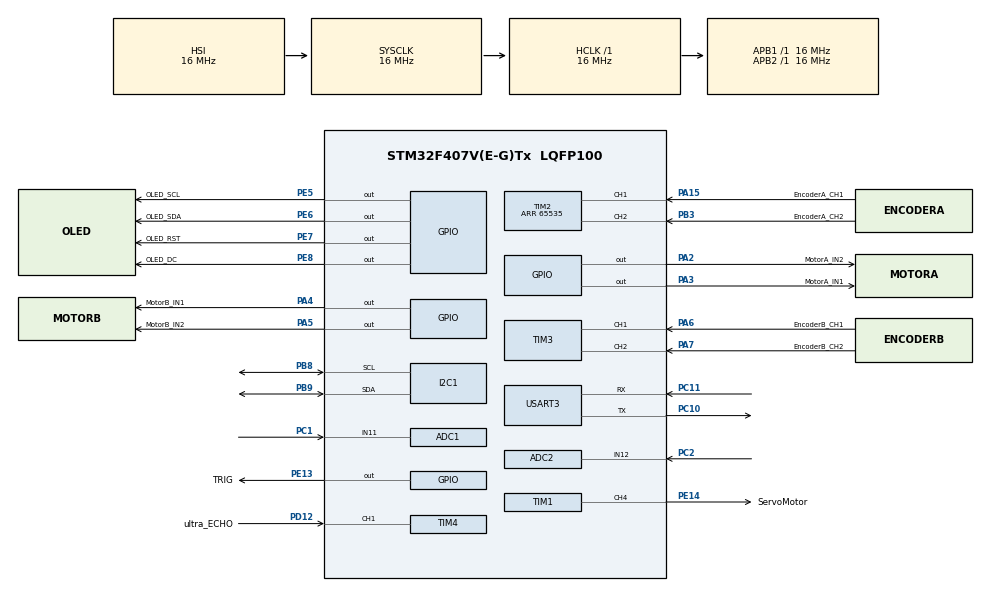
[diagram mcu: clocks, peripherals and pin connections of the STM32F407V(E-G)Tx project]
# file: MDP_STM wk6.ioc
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ADC1.Channel-0\#ChannelRegularConversion=ADC_CHANNEL_11
ADC1.ContinuousConvMode=ENABLE
ADC1.DMAContinuousRequests=ENABLE
ADC1.NbrOfConversionFlag=1
ADC1.Rank-0\#ChannelRegularConversion=1
ADC1.SamplingTime-0\#ChannelRegularConversion=ADC_SAMPLETIME_3CYCLES
ADC1.master=1
ADC2.Channel-0\#ChannelRegularConversion=ADC_CHANNEL_12
ADC2.ContinuousConvMode=ENABLE
ADC2.DMAContinuousRequests=ENABLE
ADC2.NbrOfConversionFlag=1
ADC2.Rank-0\#ChannelRegularConversion=1
ADC2.SamplingTime-0\#ChannelRegularConversion=ADC_SAMPLETIME_3CYCLES
Dma.ADC1.0.Direction=DMA_PERIPH_TO_MEMORY
Dma.ADC1.0.FIFOMode=DMA_FIFOMODE_DISABLE
Dma.ADC1.0.Instance=DMA2_Stream0
Dma.ADC1.0.MemDataAlignment=DMA_MDATAALIGN_HALFWORD
Dma.ADC1.0.MemInc=DMA_MINC_ENABLE
Dma.ADC1.0.Mode=DMA_CIRCULAR
Dma.ADC1.0.PeriphDataAlignment=DMA_PDATAALIGN_HALFWORD
Dma.ADC1.0.PeriphInc=DMA_PINC_DISABLE
Dma.ADC1.0.Priority=DMA_PRIORITY_LOW
Dma.ADC2.1.Direction=DMA_PERIPH_TO_MEMORY
Dma.ADC2.1.FIFOMode=DMA_FIFOMODE_DISABLE
Dma.ADC2.1.Instance=DMA2_Stream2
Dma.ADC2.1.MemDataAlignment=DMA_MDATAALIGN_HALFWORD
Dma.ADC2.1.MemInc=DMA_MINC_ENABLE
Dma.ADC2.1.Mode=DMA_CIRCULAR
Dma.ADC2.1.PeriphDataAlignment=DMA_PDATAALIGN_HALFWORD
Dma.ADC2.1.PeriphInc=DMA_PINC_DISABLE
Dma.ADC2.1.Priority=DMA_PRIORITY_LOW
Dma.Request0=ADC1
Dma.Request1=ADC2
FREERTOS.Tasks01=defaultTask,0,128,StartDefaultTask,Default,NULL,Dynamic,NULL,NULL;robotCommandTas,-3,128,robotCommand,Default,NULL,Dynamic,NULL,NULL;leftEncoderTask,-3,128,leftEncoder,Default,NULL,Dynamic,NULL,NULL;rightEncoderTas,-3,128,rightEncoder,Default,NULL,Dynamic,NULL,NULL;stopBotTask,-3,128,stopBot,Default,NULL,Dynamic,NULL,NULL;leftMotorFixTas,-3,128,LeftMotorFix,Default,NULL,Dynamic,NULL,NULL;motorTask,-3,128,motor,Default,NULL,Dynamic,NULL,NULL;OLEDTask,-3,128,OLEDShow,Default,NULL,Dynamic,NULL,NULL;rightMotorFixTa,-3,128,rightMotorFix,Default,NULL,Dynamic,NULL,NULL;gyroTask,-3,128,gyroTask1,Default,NULL,Dynamic,NULL,NULL
Mcu.Family=STM32F4
Mcu.Name=STM32F407V(E-G)Tx
Mcu.Package=LQFP100
NVIC.DMA2_Stream0_IRQn=true\:5\:0\:false\:false\:true\:true\:false\:true\:true
NVIC.DMA2_Stream2_IRQn=true\:5\:0\:false\:false\:true\:true\:false\:true\:true
NVIC.PriorityGroup=NVIC_PRIORITYGROUP_4
NVIC.TIM4_IRQn=true\:5\:0\:false\:false\:true\:true\:true\:true\:true
NVIC.USART3_IRQn=true\:5\:0\:false\:false\:true\:true\:true\:true\:true
PA15.GPIO_Label=EncoderA_CH1
PA15.GPIO_Speed=GPIO_SPEED_FREQ_VERY_HIGH
PA15.Signal=S_TIM2_CH1_ETR
PA2.GPIO_Label=MotorA_IN2
PA2.GPIO_Speed=GPIO_SPEED_FREQ_VERY_HIGH
PA2.Signal=GPIO_Output
PA3.GPIO_Label=MotorA_IN1
PA3.GPIO_Speed=GPIO_SPEED_FREQ_VERY_HIGH
PA3.Signal=GPIO_Output
PA4.GPIO_Label=MotorB_IN1
PA4.GPIO_Speed=GPIO_SPEED_FREQ_VERY_HIGH
PA4.Signal=GPIO_Output
PA5.GPIO_Label=MotorB_IN2
PA5.GPIO_Speed=GPIO_SPEED_FREQ_VERY_HIGH
PA5.Signal=GPIO_Output
PA6.GPIO_Label=EncoderB_CH1
PA6.GPIO_Speed=GPIO_SPEED_FREQ_VERY_HIGH
PA6.Signal=S_TIM3_CH1
PA7.GPIO_Label=EncoderB_CH2
PA7.GPIO_Speed=GPIO_SPEED_FREQ_VERY_HIGH
PA7.Signal=S_TIM3_CH2
PB3.GPIO_Label=EncoderA_CH2
PB3.GPIO_Speed=GPIO_SPEED_FREQ_VERY_HIGH
PB3.Signal=S_TIM2_CH2
PB8.Mode=I2C
PB8.Signal=I2C1_SCL
PB9.Mode=I2C
PB9.Signal=I2C1_SDA
PC1.Signal=ADCx_IN11
PC10.Mode=Asynchronous
PC10.Signal=USART3_TX
PC11.Mode=Asynchronous
PC11.Signal=USART3_RX
PC2.Signal=ADCx_IN12
PC6.GPIO_Label=MotorA_PWM
PC6.Signal=S_TIM8_CH1
PC7.GPIO_Label=MotorB_PWM
PC7.Signal=S_TIM8_CH2
PD12.GPIO_Label=ultra_ECHO
PD12.Signal=S_TIM4_CH1
PE13.GPIO_Label=TRIG
PE13.Signal=GPIO_Output
PE14.GPIO_Label=ServoMotor
PE14.GPIO_Speed=GPIO_SPEED_FREQ_VERY_HIGH
PE14.Signal=S_TIM1_CH4
PE5.GPIO_Label=OLED_SCL
PE5.GPIO_Speed=GPIO_SPEED_FREQ_VERY_HIGH
PE5.Signal=GPIO_Output
PE6.GPIO_Label=OLED_SDA
PE6.GPIO_Speed=GPIO_SPEED_FREQ_VERY_HIGH
PE6.Signal=GPIO_Output
PE7.GPIO_Label=OLED_RST
PE7.GPIO_Speed=GPIO_SPEED_FREQ_VERY_HIGH
PE7.Signal=GPIO_Output
PE8.GPIO_Label=OLED_DC
PE8.GPIO_Speed=GPIO_SPEED_FREQ_VERY_HIGH
PE8.Signal=GPIO_Output
ProjectManager.HeapSize=0x200
ProjectManager.StackSize=0x400
ProjectManager.TargetToolchain=STM32CubeIDE
RCC.AHBFreq_Value=16000000
RCC.APB1Freq_Value=16000000
RCC.APB2Freq_Value=16000000
RCC.CortexFreq_Value=16000000
RCC.HSE_VALUE=25000000
RCC.HSI_VALUE=16000000
RCC.LSE_VALUE=32768
RCC.SYSCLKFreq_VALUE=16000000
RCC.VCOOutputFreq_Value=192000000
SH.ADCx_IN11.0=ADC1_IN11,IN11
SH.ADCx_IN12.0=ADC2_IN12,IN12
SH.S_TIM1_CH4.0=TIM1_CH4,PWM Generation4 CH4
SH.S_TIM2_CH1_ETR.0=TIM2_CH1,Encoder_Interface
SH.S_TIM2_CH2.0=TIM2_CH2,Encoder_Interface
SH.S_TIM3_CH1.0=TIM3_CH1,Encoder_Interface
SH.S_TIM3_CH2.0=TIM3_CH2,Encoder_Interface
SH.S_TIM4_CH1.0=TIM4_CH1,Input_Capture1_from_TI1
SH.S_TIM8_CH1.0=TIM8_CH1
SH.S_TIM8_CH2.0=TIM8_CH2
TIM1.AutoReloadPreload=TIM_AUTORELOAD_PRELOAD_ENABLE
TIM1.Channel-PWM\ Generation4\ CH4=TIM_CHANNEL_4
TIM1.Period=1000
TIM1.Prescaler=160
TIM2.EncoderMode=TIM_ENCODERMODE_TI12
TIM2.IC1Filter=10
TIM2.IC2Filter=10
TIM2.Period=65535
TIM3.EncoderMode=TIM_ENCODERMODE_TI12
TIM3.IC1Filter=10
TIM3.IC2Filter=10
TIM4.Channel-Input_Capture1_from_TI1=TIM_CHANNEL_1
TIM4.Prescaler=16
TIM8.Channel-PWM\ Generation1\ No\ Output=TIM_CHANNEL_1
TIM8.Channel-PWM\ Generation2\ No\ Output=TIM_CHANNEL_2
TIM8.Period=7199
USART3.VirtualMode=VM_ASYNC
VP_FREERTOS_VS_CMSIS_V1.Mode=CMSIS_V1
VP_TIM8_VS_ClockSourceINT.Mode=Internal
VP_TIM8_VS_no_output1.Mode=PWM Generation1 No Output
VP_TIM8_VS_no_output2.Mode=PWM Generation2 No Output
board=custom

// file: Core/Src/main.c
/* USER CODE BEGIN Header */
/**
 ******************************************************************************
 * @file           : main.c
 * @brief          : Main program body
 ******************************************************************************
 * @attention
 *
 * Copyright (c) 2022 STMicroelectronics.
 * All rights reserved.
 *
 * This software is licensed under terms that can be found in the LICENSE file
 * in the root directory of this software component.
 * If no LICENSE file comes with this software, it is provided AS-IS.
 *
 ******************************************************************************
 */
/* USER CODE END Header */
#include "main.h"
#include "cmsis_os.h"

/* USER CODE BEGIN Includes */
#include <oled.h>
#include <stdio.h>
#include <stdlib.h>
#include <string.h>
/* USER CODE END Includes */

ADC_HandleTypeDef hadc1;
ADC_HandleTypeDef hadc2;
DMA_HandleTypeDef hdma_adc1;
DMA_HandleTypeDef hdma_adc2;

I2C_HandleTypeDef hi2c1;

TIM_HandleTypeDef htim1;
TIM_HandleTypeDef htim2;
TIM_HandleTypeDef htim3;
TIM_HandleTypeDef htim4;
TIM_HandleTypeDef htim8;

UART_HandleTypeDef huart3;

osThreadId defaultTaskHandle;
osThreadId robotCommandTasHandle;
osThreadId leftEncoderTaskHandle;
osThreadId rightEncoderTasHandle;
osThreadId stopBotTaskHandle;
osThreadId motorTaskHandle;
osThreadId OLEDTaskHandle;
osThreadId gyroTaskHandle;

void SystemClock_Config(void);
static void MX_GPIO_Init(void);
static void MX_DMA_Init(void);
static void MX_TIM8_Init(void);
static void MX_TIM2_Init(void);
static void MX_TIM1_Init(void);
static void MX_TIM3_Init(void);
static void MX_USART3_UART_Init(void);
static void MX_I2C1_Init(void);
static void MX_TIM4_Init(void);
static void MX_ADC1_Init(void);
static void MX_ADC2_Init(void);
void StartDefaultTask(void const * argument);
void robotCommand(void const * argument);
void leftEncoder(void const * argument);
void rightEncoder(void const * argument);
void stopBot(void const * argument);
void motor(void const * argument);
void OLEDShow(void const * argument);
void gyroTask1(void const * argument);

/* USER CODE BEGIN PFP */
void stopMovement(void);
void moveFrontStraight(void);
void moveBackStraight(void);
void moveForward(char dir[10], int distance);
void moveBackward(char dir[10], int distance);
float Left_PID_control (float setpoint, float measure);
float Right_PID_control (float setpoint, float measure);

/* USER CODE END PFP */

/* USER CODE BEGIN 0 */
uint8_t aRxBuffer[20];
uint16_t leftIR[4096]; // PC2 is left IR
uint16_t rightIR[4096]; // PC1 is right IR
int rightEncoderVal = 0, leftEncoderVal = 0;
uint16_t rightPWMval = 0, leftPWMval = 0;
int motorDir = 00;
int angle = 90;
int totalLeftEncoder=0;
int totalRightEncoder=0;
uint8_t buff[20];

//PID variables
float Kp=7, Ki=10, Kd=0.01;
float T=5; /*Sample Period*/
float ruk, ruk_1=0, rek_1=0, rek_2=0, rek=0;
float luk, luk_1=0, lek_1=0, lek_2=0, lek=0;
float umax=3500;/*Constant*/
float umin=1500; /*Constant*/
char temp[6] = "test\0";
uint8_t ICMAddr = 0x68;

double Aint = 0;

uint32_t Difference = 0;
uint32_t IC_Val1 = 0;
uint32_t IC_Val2 = 0;
uint8_t Is_First_Captured = 0;  // is the first value captured ?
uint8_t Distance  = 0;

double total_angle=0;
double angle_offset=0;

void readByte(uint8_t addr, uint8_t* data){
	buff[0] = addr;
	HAL_I2C_Master_Transmit(&hi2c1, ICMAddr<<1, buff, 1, 10);
	HAL_I2C_Master_Receive(&hi2c1, ICMAddr<<1, data, 2, 20);

}

void writeByte(uint8_t addr, uint8_t data){
	buff[0] = addr;
	buff[1] = data;
	HAL_I2C_Master_Transmit(&hi2c1, ICMAddr << 1, buff, 2, 20);
}

void correctDirection(double target_angle, int dir){

	int pidVal;

	// calibrate these for PID and gyro
	pidVal = (int)(147 + (dir*(total_angle - target_angle)*2.0 + 0.0007*Aint));
	if(pidVal <= 100){
		pidVal = 100;
	}

	if(pidVal >= 200){
		pidVal = 200;
	}
	Aint += dir*(total_angle - target_angle);
	htim1.Instance -> CCR4 = pidVal;

}

void gyroInit(){

	writeByte(0x06, 0x00);
	osDelay(10);
	writeByte(0x03, 0x80);
	osDelay(10);
	writeByte(0x07, 0x07);
	osDelay(10);
	writeByte(0x06, 0x01);
	osDelay(10);
	writeByte(0x7F, 0x20);
	osDelay(10);
	writeByte(0x01, 0x2F);
	osDelay(10);
	writeByte(0x0, 0x00);
	osDelay(10);
	writeByte(0x7F, 0x00);
	osDelay(10);
	writeByte(0x07, 0x00);
	osDelay(10);

}
/* USER CODE END 0 */

int main(void)
{

	/* MCU Configuration--------------------------------------------------------*/

	/* Reset of all peripherals, Initializes the Flash interface and the Systick. */
	HAL_Init();

	/* Configure the system clock */
	SystemClock_Config();

	/* Initialize all configured peripherals */
	MX_GPIO_Init();
	MX_DMA_Init();
	MX_TIM8_Init();
	MX_TIM2_Init();
	MX_TIM1_Init();
	MX_TIM3_Init();
	MX_USART3_UART_Init();
	MX_I2C1_Init();
	MX_TIM4_Init();
	MX_ADC1_Init();
	MX_ADC2_Init();
	/* USER CODE BEGIN 2 */
	OLED_Init();
	HAL_UART_Receive_IT(&huart3,(uint8_t *) aRxBuffer, 5);
	/* USER CODE END 2 */

	/* Create the thread(s) */
	/* definition and creation of defaultTask */
	osThreadDef(defaultTask, StartDefaultTask, osPriorityNormal, 0, 128);
	defaultTaskHandle = osThreadCreate(osThread(defaultTask), NULL);

	/* definition and creation of robotCommandTas */
	osThreadDef(robotCommandTas, robotCommand, osPriorityIdle, 0, 128);
	robotCommandTasHandle = osThreadCreate(osThread(robotCommandTas), NULL);

	/* definition and creation of leftEncoderTask */
	osThreadDef(leftEncoderTask, leftEncoder, osPriorityIdle, 0, 128);
	leftEncoderTaskHandle = osThreadCreate(osThread(leftEncoderTask), NULL);

	/* definition and creation of rightEncoderTas */
	osThreadDef(rightEncoderTas, rightEncoder, osPriorityIdle, 0, 128);
	rightEncoderTasHandle = osThreadCreate(osThread(rightEncoderTas), NULL);

	/* definition and creation of stopBotTask */
	osThreadDef(stopBotTask, stopBot, osPriorityIdle, 0, 128);
	stopBotTaskHandle = osThreadCreate(osThread(stopBotTask), NULL);

	/* definition and creation of motorTask */
	osThreadDef(motorTask, motor, osPriorityIdle, 0, 128);
	motorTaskHandle = osThreadCreate(osThread(motorTask), NULL);

	/* definition and creation of OLEDTask */
	osThreadDef(OLEDTask, OLEDShow, osPriorityIdle, 0, 128);
	OLEDTaskHandle = osThreadCreate(osThread(OLEDTask), NULL);

	/* definition and creation of gyroTask */
	osThreadDef(gyroTask, gyroTask1, osPriorityIdle, 0, 128);
	gyroTaskHandle = osThreadCreate(osThread(gyroTask), NULL);

	/* Start scheduler */
	osKernelStart();

	/* We should never get here as control is now taken by the scheduler */
	/* Infinite loop */
	while (1)
	{

	}
}

void SystemClock_Config(void)
{
	RCC_OscInitTypeDef RCC_OscInitStruct = {0};
	RCC_ClkInitTypeDef RCC_ClkInitStruct = {0};

	/** Configure the main internal regulator output voltage
	 */
	__HAL_RCC_PWR_CLK_ENABLE();
	__HAL_PWR_VOLTAGESCALING_CONFIG(PWR_REGULATOR_VOLTAGE_SCALE1);

	/** Initializes the RCC Oscillators according to the specified parameters
	 * in the RCC_OscInitTypeDef structure.
	 */
	RCC_OscInitStruct.OscillatorType = RCC_OSCILLATORTYPE_HSI;
	RCC_OscInitStruct.HSIState = RCC_HSI_ON;
	RCC_OscInitStruct.HSICalibrationValue = RCC_HSICALIBRATION_DEFAULT;
	RCC_OscInitStruct.PLL.PLLState = RCC_PLL_NONE;
	if (HAL_RCC_OscConfig(&RCC_OscInitStruct) != HAL_OK)
	{
		Error_Handler();
	}

	/** Initializes the CPU, AHB and APB buses clocks
	 */
	RCC_ClkInitStruct.ClockType = RCC_CLOCKTYPE_HCLK|RCC_CLOCKTYPE_SYSCLK
			|RCC_CLOCKTYPE_PCLK1|RCC_CLOCKTYPE_PCLK2;
	RCC_ClkInitStruct.SYSCLKSource = RCC_SYSCLKSOURCE_HSI;
	RCC_ClkInitStruct.AHBCLKDivider = RCC_SYSCLK_DIV1;
	RCC_ClkInitStruct.APB1CLKDivider = RCC_HCLK_DIV1;
	RCC_ClkInitStruct.APB2CLKDivider = RCC_HCLK_DIV1;

	if (HAL_RCC_ClockConfig(&RCC_ClkInitStruct, FLASH_LATENCY_0) != HAL_OK)
	{
		Error_Handler();
	}
}

static void MX_ADC1_Init(void)
{

	ADC_ChannelConfTypeDef sConfig = {0};

	/** Configure the global features of the ADC (Clock, Resolution, Data Alignment and number of conversion)
	 */
	hadc1.Instance = ADC1;
	hadc1.Init.ClockPrescaler = ADC_CLOCK_SYNC_PCLK_DIV2;
	hadc1.Init.Resolution = ADC_RESOLUTION_12B;
	hadc1.Init.ScanConvMode = DISABLE;
	hadc1.Init.ContinuousConvMode = ENABLE;
	hadc1.Init.DiscontinuousConvMode = DISABLE;
	hadc1.Init.ExternalTrigConvEdge = ADC_EXTERNALTRIGCONVEDGE_NONE;
	hadc1.Init.ExternalTrigConv = ADC_SOFTWARE_START;
	hadc1.Init.DataAlign = ADC_DATAALIGN_RIGHT;
	hadc1.Init.NbrOfConversion = 1;
	hadc1.Init.DMAContinuousRequests = ENABLE;
	hadc1.Init.EOCSelection = ADC_EOC_SINGLE_CONV;
	if (HAL_ADC_Init(&hadc1) != HAL_OK)
	{
		Error_Handler();
	}

	/** Configure for the selected ADC regular channel its corresponding rank in the sequencer and its sample time.
	 */
	sConfig.Channel = ADC_CHANNEL_11;
	sConfig.Rank = 1;
	sConfig.SamplingTime = ADC_SAMPLETIME_3CYCLES;
	if (HAL_ADC_ConfigChannel(&hadc1, &sConfig) != HAL_OK)
	{
		Error_Handler();
	}

}

static void MX_ADC2_Init(void)
{

	ADC_ChannelConfTypeDef sConfig = {0};

	/** Configure the global features of the ADC (Clock, Resolution, Data Alignment and number of conversion)
	 */
	hadc2.Instance = ADC2;
	hadc2.Init.ClockPrescaler = ADC_CLOCK_SYNC_PCLK_DIV2;
	hadc2.Init.Resolution = ADC_RESOLUTION_12B;
	hadc2.Init.ScanConvMode = DISABLE;
	hadc2.Init.ContinuousConvMode = ENABLE;
	hadc2.Init.DiscontinuousConvMode = DISABLE;
	hadc2.Init.ExternalTrigConvEdge = ADC_EXTERNALTRIGCONVEDGE_NONE;
	hadc2.Init.ExternalTrigConv = ADC_SOFTWARE_START;
	hadc2.Init.DataAlign = ADC_DATAALIGN_RIGHT;
	hadc2.Init.NbrOfConversion = 1;
	hadc2.Init.DMAContinuousRequests = ENABLE;
	hadc2.Init.EOCSelection = ADC_EOC_SINGLE_CONV;
	if (HAL_ADC_Init(&hadc2) != HAL_OK)
	{
		Error_Handler();
	}

	/** Configure for the selected ADC regular channel its corresponding rank in the sequencer and its sample time.
	 */
	sConfig.Channel = ADC_CHANNEL_12;
	sConfig.Rank = 1;
	sConfig.SamplingTime = ADC_SAMPLETIME_3CYCLES;
	if (HAL_ADC_ConfigChannel(&hadc2, &sConfig) != HAL_OK)
	{
		Error_Handler();
	}

}

static void MX_I2C1_Init(void)
{

	hi2c1.Instance = I2C1;
	hi2c1.Init.ClockSpeed = 100000;
	hi2c1.Init.DutyCycle = I2C_DUTYCYCLE_2;
	hi2c1.Init.OwnAddress1 = 0;
	hi2c1.Init.AddressingMode = I2C_ADDRESSINGMODE_7BIT;
	hi2c1.Init.DualAddressMode = I2C_DUALADDRESS_DISABLE;
	hi2c1.Init.OwnAddress2 = 0;
	hi2c1.Init.GeneralCallMode = I2C_GENERALCALL_DISABLE;
	hi2c1.Init.NoStretchMode = I2C_NOSTRETCH_DISABLE;
	if (HAL_I2C_Init(&hi2c1) != HAL_OK)
	{
		Error_Handler();
	}

}

static void MX_TIM1_Init(void)
{

	TIM_MasterConfigTypeDef sMasterConfig = {0};
	TIM_OC_InitTypeDef sConfigOC = {0};
	TIM_BreakDeadTimeConfigTypeDef sBreakDeadTimeConfig = {0};

	htim1.Instance = TIM1;
	htim1.Init.Prescaler = 160;
	htim1.Init.CounterMode = TIM_COUNTERMODE_UP;
	htim1.Init.Period = 1000;
	htim1.Init.ClockDivision = TIM_CLOCKDIVISION_DIV1;
	htim1.Init.RepetitionCounter = 0;
	htim1.Init.AutoReloadPreload = TIM_AUTORELOAD_PRELOAD_ENABLE;
	if (HAL_TIM_PWM_Init(&htim1) != HAL_OK)
	{
		Error_Handler();
	}
	sMasterConfig.MasterOutputTrigger = TIM_TRGO_RESET;
	sMasterConfig.MasterSlaveMode = TIM_MASTERSLAVEMODE_DISABLE;
	if (HAL_TIMEx_MasterConfigSynchronization(&htim1, &sMasterConfig) != HAL_OK)
	{
		Error_Handler();
	}
	sConfigOC.OCMode = TIM_OCMODE_PWM1;
	sConfigOC.Pulse = 0;
	sConfigOC.OCPolarity = TIM_OCPOLARITY_HIGH;
	sConfigOC.OCFastMode = TIM_OCFAST_DISABLE;
	sConfigOC.OCIdleState = TIM_OCIDLESTATE_RESET;
	sConfigOC.OCNIdleState = TIM_OCNIDLESTATE_RESET;
	if (HAL_TIM_PWM_ConfigChannel(&htim1, &sConfigOC, TIM_CHANNEL_4) != HAL_OK)
	{
		Error_Handler();
	}
	sBreakDeadTimeConfig.OffStateRunMode = TIM_OSSR_DISABLE;
	sBreakDeadTimeConfig.OffStateIDLEMode = TIM_OSSI_DISABLE;
	sBreakDeadTimeConfig.LockLevel = TIM_LOCKLEVEL_OFF;
	sBreakDeadTimeConfig.DeadTime = 0;
	sBreakDeadTimeConfig.BreakState = TIM_BREAK_DISABLE;
	sBreakDeadTimeConfig.BreakPolarity = TIM_BREAKPOLARITY_HIGH;
	sBreakDeadTimeConfig.AutomaticOutput = TIM_AUTOMATICOUTPUT_DISABLE;
	if (HAL_TIMEx_ConfigBreakDeadTime(&htim1, &sBreakDeadTimeConfig) != HAL_OK)
	{
		Error_Handler();
	}
	HAL_TIM_MspPostInit(&htim1);

}

static void MX_TIM2_Init(void)
{

	TIM_Encoder_InitTypeDef sConfig = {0};
	TIM_MasterConfigTypeDef sMasterConfig = {0};

	htim2.Instance = TIM2;
	htim2.Init.Prescaler = 0;
	htim2.Init.CounterMode = TIM_COUNTERMODE_UP;
	htim2.Init.Period = 65535;
	htim2.Init.ClockDivision = TIM_CLOCKDIVISION_DIV1;
	htim2.Init.AutoReloadPreload = TIM_AUTORELOAD_PRELOAD_DISABLE;
	sConfig.EncoderMode = TIM_ENCODERMODE_TI12;
	sConfig.IC1Polarity = TIM_ICPOLARITY_RISING;
	sConfig.IC1Selection = TIM_ICSELECTION_DIRECTTI;
	sConfig.IC1Prescaler = TIM_ICPSC_DIV1;
	sConfig.IC1Filter = 10;
	sConfig.IC2Polarity = TIM_ICPOLARITY_RISING;
	sConfig.IC2Selection = TIM_ICSELECTION_DIRECTTI;
	sConfig.IC2Prescaler = TIM_ICPSC_DIV1;
	sConfig.IC2Filter = 10;
	if (HAL_TIM_Encoder_Init(&htim2, &sConfig) != HAL_OK)
	{
		Error_Handler();
	}
	sMasterConfig.MasterOutputTrigger = TIM_TRGO_RESET;
	sMasterConfig.MasterSlaveMode = TIM_MASTERSLAVEMODE_DISABLE;
	if (HAL_TIMEx_MasterConfigSynchronization(&htim2, &sMasterConfig) != HAL_OK)
	{
		Error_Handler();
	}

}

static void MX_TIM3_Init(void)
{

	TIM_Encoder_InitTypeDef sConfig = {0};
	TIM_MasterConfigTypeDef sMasterConfig = {0};

	htim3.Instance = TIM3;
	htim3.Init.Prescaler = 0;
	htim3.Init.CounterMode = TIM_COUNTERMODE_UP;
	htim3.Init.Period = 65535;
	htim3.Init.ClockDivision = TIM_CLOCKDIVISION_DIV1;
	htim3.Init.AutoReloadPreload = TIM_AUTORELOAD_PRELOAD_DISABLE;
	sConfig.EncoderMode = TIM_ENCODERMODE_TI12;
	sConfig.IC1Polarity = TIM_ICPOLARITY_RISING;
	sConfig.IC1Selection = TIM_ICSELECTION_DIRECTTI;
	sConfig.IC1Prescaler = TIM_ICPSC_DIV1;
	sConfig.IC1Filter = 10;
	sConfig.IC2Polarity = TIM_ICPOLARITY_RISING;
	sConfig.IC2Selection = TIM_ICSELECTION_DIRECTTI;
	sConfig.IC2Prescaler = TIM_ICPSC_DIV1;
	sConfig.IC2Filter = 10;
	if (HAL_TIM_Encoder_Init(&htim3, &sConfig) != HAL_OK)
	{
		Error_Handler();
	}
	sMasterConfig.MasterOutputTrigger = TIM_TRGO_RESET;
	sMasterConfig.MasterSlaveMode = TIM_MASTERSLAVEMODE_DISABLE;
	if (HAL_TIMEx_MasterConfigSynchronization(&htim3, &sMasterConfig) != HAL_OK)
	{
		Error_Handler();
	}

}

static void MX_TIM4_Init(void)
{

	TIM_MasterConfigTypeDef sMasterConfig = {0};
	TIM_IC_InitTypeDef sConfigIC = {0};

	htim4.Instance = TIM4;
	htim4.Init.Prescaler = 16;
	htim4.Init.CounterMode = TIM_COUNTERMODE_UP;
	htim4.Init.Period = 65535;
	htim4.Init.ClockDivision = TIM_CLOCKDIVISION_DIV1;
	htim4.Init.AutoReloadPreload = TIM_AUTORELOAD_PRELOAD_DISABLE;
	if (HAL_TIM_IC_Init(&htim4) != HAL_OK)
	{
		Error_Handler();
	}
	sMasterConfig.MasterOutputTrigger = TIM_TRGO_RESET;
	sMasterConfig.MasterSlaveMode = TIM_MASTERSLAVEMODE_DISABLE;
	if (HAL_TIMEx_MasterConfigSynchronization(&htim4, &sMasterConfig) != HAL_OK)
	{
		Error_Handler();
	}
	sConfigIC.ICPolarity = TIM_INPUTCHANNELPOLARITY_RISING;
	sConfigIC.ICSelection = TIM_ICSELECTION_DIRECTTI;
	sConfigIC.ICPrescaler = TIM_ICPSC_DIV1;
	sConfigIC.ICFilter = 0;
	if (HAL_TIM_IC_ConfigChannel(&htim4, &sConfigIC, TIM_CHANNEL_1) != HAL_OK)
	{
		Error_Handler();
	}

}

static void MX_TIM8_Init(void)
{

	TIM_ClockConfigTypeDef sClockSourceConfig = {0};
	TIM_MasterConfigTypeDef sMasterConfig = {0};
	TIM_OC_InitTypeDef sConfigOC = {0};
	TIM_BreakDeadTimeConfigTypeDef sBreakDeadTimeConfig = {0};

	htim8.Instance = TIM8;
	htim8.Init.Prescaler = 0;
	htim8.Init.CounterMode = TIM_COUNTERMODE_UP;
	htim8.Init.Period = 7199;
	htim8.Init.ClockDivision = TIM_CLOCKDIVISION_DIV1;
	htim8.Init.RepetitionCounter = 0;
	htim8.Init.AutoReloadPreload = TIM_AUTORELOAD_PRELOAD_DISABLE;
	if (HAL_TIM_Base_Init(&htim8) != HAL_OK)
	{
		Error_Handler();
	}
	sClockSourceConfig.ClockSource = TIM_CLOCKSOURCE_INTERNAL;
	if (HAL_TIM_ConfigClockSource(&htim8, &sClockSourceConfig) != HAL_OK)
	{
		Error_Handler();
	}
	if (HAL_TIM_PWM_Init(&htim8) != HAL_OK)
	{
		Error_Handler();
	}
	sMasterConfig.MasterOutputTrigger = TIM_TRGO_RESET;
	sMasterConfig.MasterSlaveMode = TIM_MASTERSLAVEMODE_DISABLE;
	if (HAL_TIMEx_MasterConfigSynchronization(&htim8, &sMasterConfig) != HAL_OK)
	{
		Error_Handler();
	}
	sConfigOC.OCMode = TIM_OCMODE_PWM1;
	sConfigOC.Pulse = 0;
	sConfigOC.OCPolarity = TIM_OCPOLARITY_HIGH;
	sConfigOC.OCNPolarity = TIM_OCNPOLARITY_HIGH;
	sConfigOC.OCFastMode = TIM_OCFAST_DISABLE;
	sConfigOC.OCIdleState = TIM_OCIDLESTATE_RESET;
	sConfigOC.OCNIdleState = TIM_OCNIDLESTATE_RESET;
	if (HAL_TIM_PWM_ConfigChannel(&htim8, &sConfigOC, TIM_CHANNEL_1) != HAL_OK)
	{
		Error_Handler();
	}
	if (HAL_TIM_PWM_ConfigChannel(&htim8, &sConfigOC, TIM_CHANNEL_2) != HAL_OK)
	{
		Error_Handler();
	}
	sBreakDeadTimeConfig.OffStateRunMode = TIM_OSSR_DISABLE;
	sBreakDeadTimeConfig.OffStateIDLEMode = TIM_OSSI_DISABLE;
	sBreakDeadTimeConfig.LockLevel = TIM_LOCKLEVEL_OFF;
	sBreakDeadTimeConfig.DeadTime = 0;
	sBreakDeadTimeConfig.BreakState = TIM_BREAK_DISABLE;
	sBreakDeadTimeConfig.BreakPolarity = TIM_BREAKPOLARITY_HIGH;
	sBreakDeadTimeConfig.AutomaticOutput = TIM_AUTOMATICOUTPUT_DISABLE;
	if (HAL_TIMEx_ConfigBreakDeadTime(&htim8, &sBreakDeadTimeConfig) != HAL_OK)
	{
		Error_Handler();
	}

}

static void MX_USART3_UART_Init(void)
{

	huart3.Instance = USART3;
	huart3.Init.BaudRate = 115200;
	huart3.Init.WordLength = UART_WORDLENGTH_8B;
	huart3.Init.StopBits = UART_STOPBITS_1;
	huart3.Init.Parity = UART_PARITY_NONE;
	huart3.Init.Mode = UART_MODE_TX_RX;
	huart3.Init.HwFlowCtl = UART_HWCONTROL_NONE;
	huart3.Init.OverSampling = UART_OVERSAMPLING_16;
	if (HAL_UART_Init(&huart3) != HAL_OK)
	{
		Error_Handler();
	}

}

static void MX_DMA_Init(void)
{

	/* DMA controller clock enable */
	__HAL_RCC_DMA2_CLK_ENABLE();

	/* DMA interrupt init */
	/* DMA2_Stream0_IRQn interrupt configuration */
	HAL_NVIC_SetPriority(DMA2_Stream0_IRQn, 5, 0);
	HAL_NVIC_EnableIRQ(DMA2_Stream0_IRQn);
	/* DMA2_Stream2_IRQn interrupt configuration */
	HAL_NVIC_SetPriority(DMA2_Stream2_IRQn, 5, 0);
	HAL_NVIC_EnableIRQ(DMA2_Stream2_IRQn);

}

static void MX_GPIO_Init(void)
{
	GPIO_InitTypeDef GPIO_InitStruct = {0};

	/* GPIO Ports Clock Enable */
	__HAL_RCC_GPIOE_CLK_ENABLE();
	__HAL_RCC_GPIOC_CLK_ENABLE();
	__HAL_RCC_GPIOA_CLK_ENABLE();
	__HAL_RCC_GPIOD_CLK_ENABLE();
	__HAL_RCC_GPIOB_CLK_ENABLE();

	/*Configure GPIO pin Output Level */
	HAL_GPIO_WritePin(GPIOE, OLED_SCL_Pin|OLED_SDA_Pin|OLED_RST_Pin|OLED_DC_Pin
			|TRIG_Pin, GPIO_PIN_RESET);

	/*Configure GPIO pin Output Level */
	HAL_GPIO_WritePin(GPIOA, MotorA_IN2_Pin|MotorA_IN1_Pin|MotorB_IN1_Pin|MotorB_IN2_Pin, GPIO_PIN_RESET);

	/*Configure GPIO pins : OLED_SCL_Pin OLED_SDA_Pin OLED_RST_Pin OLED_DC_Pin */
	GPIO_InitStruct.Pin = OLED_SCL_Pin|OLED_SDA_Pin|OLED_RST_Pin|OLED_DC_Pin;
	GPIO_InitStruct.Mode = GPIO_MODE_OUTPUT_PP;
	GPIO_InitStruct.Pull = GPIO_NOPULL;
	GPIO_InitStruct.Speed = GPIO_SPEED_FREQ_VERY_HIGH;
	HAL_GPIO_Init(GPIOE, &GPIO_InitStruct);

	/*Configure GPIO pins : MotorA_IN2_Pin MotorA_IN1_Pin MotorB_IN1_Pin MotorB_IN2_Pin */
	GPIO_InitStruct.Pin = MotorA_IN2_Pin|MotorA_IN1_Pin|MotorB_IN1_Pin|MotorB_IN2_Pin;
	GPIO_InitStruct.Mode = GPIO_MODE_OUTPUT_PP;
	GPIO_InitStruct.Pull = GPIO_NOPULL;
	GPIO_InitStruct.Speed = GPIO_SPEED_FREQ_VERY_HIGH;
	HAL_GPIO_Init(GPIOA, &GPIO_InitStruct);

	/*Configure GPIO pin : TRIG_Pin */
	GPIO_InitStruct.Pin = TRIG_Pin;
	GPIO_InitStruct.Mode = GPIO_MODE_OUTPUT_PP;
	GPIO_InitStruct.Pull = GPIO_NOPULL;
	GPIO_InitStruct.Speed = GPIO_SPEED_FREQ_LOW;
	HAL_GPIO_Init(TRIG_GPIO_Port, &GPIO_InitStruct);

}

/* USER CODE BEGIN 4 */
void HAL_UART_RxCpltCallback(UART_HandleTypeDef *huart)
{
	/* to prevent unused argument(s) compilation warning */
	UNUSED(huart);
	//	HAL_UART_Transmit(&huart3, (uint8_t *) aRxBuffer, 10, 0xFFFF);
	//motorDir = aRxBuffer[0];
	sprintf(temp,"%s\0",aRxBuffer);
	int value = atoi(temp);
	motorDir = value/1000;
	angle = value % 1000;
	if (!motorDir){
		stopMovement();
		HAL_UART_Transmit(&huart3, (uint8_t *) "Done", 5, 0xFFFF);
	}
	HAL_UART_Receive_IT (&huart3, aRxBuffer, 5);
}

void delay(uint16_t duration){

	__HAL_TIM_SET_COUNTER(&htim4,0);
	while(__HAL_TIM_GET_COUNTER(&htim4) < duration);
}

void HAL_TIM_IC_CaptureCallback(TIM_HandleTypeDef *htim)
{
	if (htim->Channel == HAL_TIM_ACTIVE_CHANNEL_1)  // if the interrupt source is channel1
	{
		if (Is_First_Captured==0) // if the first value is not captured
		{
			IC_Val1 = HAL_TIM_ReadCapturedValue(htim, TIM_CHANNEL_1); // read the first value
			Is_First_Captured = 1;  // set the first captured as true
			// Now change the polarity to falling edge
			__HAL_TIM_SET_CAPTUREPOLARITY(htim, TIM_CHANNEL_1, TIM_INPUTCHANNELPOLARITY_FALLING);
		}

		else if (Is_First_Captured==1)   // if the first is already captured
		{
			IC_Val2 = HAL_TIM_ReadCapturedValue(htim, TIM_CHANNEL_1);  // read second value
			__HAL_TIM_SET_COUNTER(htim, 0);  // reset the counter

			if (IC_Val2 > IC_Val1)
			{
				Difference = IC_Val2-IC_Val1;
			}

			else if (IC_Val1 > IC_Val2)
			{
				Difference = (0xffff - IC_Val1) + IC_Val2;
			}

			Distance = Difference * .034/2;
			Distance+=4;  //ultrasonic sensor is off by 4cm
			Is_First_Captured = 0; // set it back to false

			// set polarity to rising edge
			__HAL_TIM_SET_CAPTUREPOLARITY(htim, TIM_CHANNEL_1, TIM_INPUTCHANNELPOLARITY_RISING);
			__HAL_TIM_DISABLE_IT(&htim4,TIM_IT_CC1);
		}
	}
}

void ultrasonic_read(void){
	//code for ultrasound
	HAL_GPIO_WritePin(GPIOE, TRIG_Pin, GPIO_PIN_SET);  // pull the TRIG pin HIGH
	osDelay(10);  // wait for 10 us
	HAL_GPIO_WritePin(GPIOE, TRIG_Pin, GPIO_PIN_RESET);  // pull the TRIG pin low
	__HAL_TIM_ENABLE_IT(&htim4, TIM_IT_CC1);
}

void stopMovement(void){
	HAL_TIM_PWM_Start(&htim1, TIM_CHANNEL_4);
	//	htim1.Instance->CCR4 = 146;
	//	HAL_TIM_PWM_Start(&htim8, TIM_CHANNEL_1);
	//	HAL_TIM_PWM_Start(&htim8, TIM_CHANNEL_2);

	__HAL_TIM_SetCompare(&htim8, TIM_CHANNEL_1, 0);
	__HAL_TIM_SetCompare(&htim8, TIM_CHANNEL_2, 0);

	//forward - Motor A
	HAL_GPIO_WritePin(GPIOA,MotorA_IN1_Pin, GPIO_PIN_SET);  // high
	HAL_GPIO_WritePin(GPIOA,MotorA_IN2_Pin,GPIO_PIN_RESET); // low

	//forward - Motor B
	HAL_GPIO_WritePin(GPIOA,MotorB_IN1_Pin, GPIO_PIN_SET);  // high
	HAL_GPIO_WritePin(GPIOA,MotorB_IN2_Pin,GPIO_PIN_RESET); // low
}

void moveForward(char dir[10], int distance){
	stopMovement();
	osDelay(100);

	HAL_TIM_PWM_Start(&htim1, TIM_CHANNEL_4);
	if(strcmp(dir, "Left") == 0)
		htim1.Instance->CCR4 = 101;
	else if(strcmp(dir, "Right") == 0)
		htim1.Instance->CCR4 = 220;
	else
		htim1.Instance->CCR4 = 147;

	HAL_GPIO_WritePin(GPIOA, MotorA_IN1_Pin, GPIO_PIN_SET);
	HAL_GPIO_WritePin(GPIOA, MotorA_IN2_Pin, GPIO_PIN_RESET);
	HAL_GPIO_WritePin(GPIOA, MotorB_IN1_Pin, GPIO_PIN_SET);
	HAL_GPIO_WritePin(GPIOA, MotorB_IN2_Pin, GPIO_PIN_RESET);

	// forward left and right wheels CLEARED CHECKLIST @ left: 2650; right: 2000
	__HAL_TIM_SetCompare(&htim8, TIM_CHANNEL_1, 1500); //left wheel was 1650
	__HAL_TIM_SetCompare(&htim8, TIM_CHANNEL_2, 1500); //right wheel was 1400

	//	osDelay(2250);   //latest
	// forward movement delay CLEARED CHECKLIST @ 2725/100
	int t = 0;
	//HAL_GetTick()
	uint32_t PreviousWakeTime = osKernelSysTick();
	int tick = HAL_GetTick();
	uint32_t delay = angle * (12800/10);
	//original value before PID: (2875/100) ; 5th Oct 4pm
	//prev value (12500/10) ; 6th Oct 1pm

	totalLeftEncoder = 0;
	total_angle = 0;

	Aint = 0;

	// for forward movement, adjust the denominator (1500) to be more if the distance traversed is not enough
	while(totalLeftEncoder/1300.0 * 21.04 < distance){

		correctDirection(0, 1);
		osDelay(1);

	}
	stopMovement();
	motorDir = 0;
}

void moveBackward(char dir[10], int distance){
	uint32_t delay = 0;
	stopMovement();
	osDelay(100);
	uint32_t target_angle = 90;
	total_angle = 0;

	HAL_GPIO_WritePin(GPIOA, MotorA_IN1_Pin, GPIO_PIN_RESET);
	HAL_GPIO_WritePin(GPIOA, MotorA_IN2_Pin, GPIO_PIN_SET);
	HAL_GPIO_WritePin(GPIOA, MotorB_IN1_Pin, GPIO_PIN_RESET);
	HAL_GPIO_WritePin(GPIOA, MotorB_IN2_Pin, GPIO_PIN_SET);

	HAL_TIM_PWM_Start(&htim1, TIM_CHANNEL_4);
	if(strcmp(dir, "Left") == 0){
		htim1.Instance->CCR4 = 101;

		HAL_GPIO_WritePin(GPIOA,MotorA_IN1_Pin, GPIO_PIN_RESET);  // high
		HAL_GPIO_WritePin(GPIOA,MotorA_IN2_Pin, GPIO_PIN_SET); // low

		// back
		HAL_GPIO_WritePin(GPIOA,MotorB_IN1_Pin, GPIO_PIN_RESET);  // high
		HAL_GPIO_WritePin(GPIOA,MotorB_IN2_Pin, GPIO_PIN_SET); // low

		osDelay(250);

		__HAL_TIM_SetCompare(&htim8, TIM_CHANNEL_1, 500); //motor A; 1000 at 14 oct 245am
		__HAL_TIM_SetCompare(&htim8, TIM_CHANNEL_2, 1500); //motor B;

		osDelay(10);
		while(total_angle*-1  <= target_angle - 3){//was 3
			osDelay(10);
		}

		stopMovement();

		osDelay(10);
		stopMovement();
		htim1.Instance->CCR4 = 147;
		osDelay(200);
		moveForward("Straight", 7);
		osDelay(200);
		stopMovement();
		motorDir = 0;
	}
	else if(strcmp(dir, "Right") == 0){
		htim1.Instance->CCR4 = 220;

		HAL_GPIO_WritePin(GPIOA,MotorA_IN1_Pin, GPIO_PIN_RESET);  // high
		HAL_GPIO_WritePin(GPIOA,MotorA_IN2_Pin, GPIO_PIN_SET); // low

		//forward
		HAL_GPIO_WritePin(GPIOA,MotorB_IN1_Pin, GPIO_PIN_RESET);  // high
		HAL_GPIO_WritePin(GPIOA,MotorB_IN2_Pin, GPIO_PIN_SET); // low

		//back
		//	HAL_GPIO_WritePin(GPIOA,MotorB_IN1_Pin, GPIO_PIN_RESET);  // low
		//	HAL_GPIO_WritePin(GPIOA,MotorB_IN2_Pin, GPIO_PIN_SET); // high

		osDelay(250);

		__HAL_TIM_SetCompare(&htim8, TIM_CHANNEL_1, 1500); //motor A
		__HAL_TIM_SetCompare(&htim8, TIM_CHANNEL_2, 500); //motor B; 1000 at 14 oct 245am

		osDelay(10);
		while(total_angle  <= target_angle + 1){
			osDelay(10);
		}

		stopMovement();

		osDelay(10);
		stopMovement();
		htim1.Instance->CCR4 = 147;
		osDelay(200);
		moveForward("Straight", 7);
		osDelay(200);
		stopMovement();
		motorDir = 0;

	}
	else{
		htim1.Instance->CCR4 = 147;
		delay = angle * (2600/100);// was 2510 for 100 (not accurate) // 251 for 10cm slight short

		// backward left and right wheels CLEARED CHECKLIST @ left: 2550; right: 2250

		__HAL_TIM_SetCompare(&htim8, TIM_CHANNEL_1, 1000);// was 2550
		__HAL_TIM_SetCompare(&htim8, TIM_CHANNEL_2, 1000);// was 2250

		totalLeftEncoder = 0;
		total_angle = 0;

		Aint = 0;

		while(totalLeftEncoder/1500.0 * -21.04 < distance){

			correctDirection(0, -1);
			//osDelayUntil(&PreviousWakeTime,5);
			osDelay(1);

		}
		stopMovement();
		motorDir = 0;
	}

}

void motorRight(int target_angle){

	total_angle = 0;
	//target_angle = angle;

	HAL_TIM_PWM_Start(&htim1, TIM_CHANNEL_4);
	htim1.Instance->CCR4 = 220;

	//forward
	HAL_GPIO_WritePin(GPIOA,MotorA_IN1_Pin, GPIO_PIN_SET);  // high
	HAL_GPIO_WritePin(GPIOA,MotorA_IN2_Pin, GPIO_PIN_RESET); // low

	//forward
	HAL_GPIO_WritePin(GPIOA,MotorB_IN1_Pin, GPIO_PIN_SET);  // high
	HAL_GPIO_WritePin(GPIOA,MotorB_IN2_Pin, GPIO_PIN_RESET); // low

	//back
	//	HAL_GPIO_WritePin(GPIOA,MotorB_IN1_Pin, GPIO_PIN_RESET);  // low
	//	HAL_GPIO_WritePin(GPIOA,MotorB_IN2_Pin, GPIO_PIN_SET); // high

	osDelay(250);

	__HAL_TIM_SetCompare(&htim8, TIM_CHANNEL_1, 1500); //motor A; 1000 at 14 oct 245am
	__HAL_TIM_SetCompare(&htim8, TIM_CHANNEL_2, 500); //motor B;

	osDelay(10);
	total_angle = total_angle * (44/45);
	while(total_angle*-1  + 2<= target_angle){
		osDelay(10);
	}

	stopMovement();

	double Aint = 0;

	HAL_GPIO_WritePin(GPIOA, MotorA_IN1_Pin, GPIO_PIN_RESET);
	HAL_GPIO_WritePin(GPIOA, MotorA_IN2_Pin, GPIO_PIN_SET);
	HAL_GPIO_WritePin(GPIOA, MotorB_IN1_Pin, GPIO_PIN_RESET);
	HAL_GPIO_WritePin(GPIOA, MotorB_IN2_Pin, GPIO_PIN_SET);

	osDelay(10);

	osDelay(10);
	stopMovement();
	htim1.Instance->CCR4 = 147;
	motorDir = 0;

	osDelay(1000);

}
void motorLeft(int target_angle){

	total_angle = 0;
	//target_angle = angle;

	HAL_TIM_PWM_Start(&htim1, TIM_CHANNEL_4);
	htim1.Instance->CCR4 = 101;

	//forward
	HAL_GPIO_WritePin(GPIOA,MotorA_IN1_Pin, GPIO_PIN_SET);  // high
	HAL_GPIO_WritePin(GPIOA,MotorA_IN2_Pin, GPIO_PIN_RESET); // low

	//forward
	HAL_GPIO_WritePin(GPIOA,MotorB_IN1_Pin, GPIO_PIN_SET);  // high
	HAL_GPIO_WritePin(GPIOA,MotorB_IN2_Pin, GPIO_PIN_RESET); // low

	//back
	//	HAL_GPIO_WritePin(GPIOA,MotorB_IN1_Pin, GPIO_PIN_RESET);  // low
	//	HAL_GPIO_WritePin(GPIOA,MotorB_IN2_Pin, GPIO_PIN_SET); // high

	osDelay(250);

	__HAL_TIM_SetCompare(&htim8, TIM_CHANNEL_1, 500); //motor A
	__HAL_TIM_SetCompare(&htim8, TIM_CHANNEL_2, 1500); //motor B; 1000 at 14 oct 245am

	osDelay(10);

	total_angle = total_angle - (total_angle / 45);
	while(total_angle  <= target_angle - 2){
		osDelay(10);
	}

	stopMovement();

	double Aint = 0;

	HAL_GPIO_WritePin(GPIOA, MotorA_IN1_Pin, GPIO_PIN_RESET);
	HAL_GPIO_WritePin(GPIOA, MotorA_IN2_Pin, GPIO_PIN_SET);
	HAL_GPIO_WritePin(GPIOA, MotorB_IN1_Pin, GPIO_PIN_RESET);
	HAL_GPIO_WritePin(GPIOA, MotorB_IN2_Pin, GPIO_PIN_SET);

	osDelay(10);

	osDelay(10);
	stopMovement();
	htim1.Instance->CCR4 = 147;

	motorDir = 0;

	osDelay(1000);
}

float Left_PID_control (float setpoint, float measure)
{
	lek_2=lek_1;
	lek_1=lek;
	lek=setpoint-measure;
	luk_1=luk;
	luk=luk_1+Kp*(lek-lek_1) +Ki*(T/2)*(lek+lek_1)+ (Kd/T)*(lek-2*lek_1+lek_2);
	//	if (luk>umax) luk=umax;
	//	if (luk<umin) luk=umin;
	return (luk);
}

float Right_PID_control (float setpoint, float measure)
{
	rek_2=rek_1;
	rek_1=rek;
	rek=setpoint-measure;
	ruk_1=ruk;
	ruk=ruk_1+Kp*(rek-rek_1) +Ki*(T/2)*(rek+rek_1)+ (Kd/T)*(rek-2*rek_1+rek_2);
	//	if (ruk>umax) ruk=umax;
	//	if (ruk<umin) ruk=umin;
	return (ruk);
}

// turns on motor in fwd direction
void motorForward(int pwm){
	total_angle = 0;
	// these 4 lines control direction of the motors
	// HAL is a system library that has a function "GPIO write pin"
	// GPIOA is the port (port A)
	// MotorA_IN_Pin is the pin number (PA3)
	// set is 1, reset is 0
	HAL_GPIO_WritePin(GPIOA, MotorA_IN1_Pin, GPIO_PIN_SET);
	HAL_GPIO_WritePin(GPIOA, MotorA_IN2_Pin, GPIO_PIN_RESET);
	HAL_GPIO_WritePin(GPIOA, MotorB_IN1_Pin, GPIO_PIN_SET);
	HAL_GPIO_WritePin(GPIOA, MotorB_IN2_Pin, GPIO_PIN_RESET);

	//
	__HAL_TIM_SetCompare(&htim8, TIM_CHANNEL_1,  pwm + 50);
	__HAL_TIM_SetCompare(&htim8, TIM_CHANNEL_2, pwm);

}

void motorReverse(int pwm){
	total_angle = 0;
	HAL_GPIO_WritePin(GPIOA, MotorA_IN1_Pin, GPIO_PIN_RESET);
	HAL_GPIO_WritePin(GPIOA, MotorA_IN2_Pin, GPIO_PIN_SET);
	HAL_GPIO_WritePin(GPIOA, MotorB_IN1_Pin, GPIO_PIN_RESET);
	HAL_GPIO_WritePin(GPIOA, MotorB_IN2_Pin, GPIO_PIN_SET);

	__HAL_TIM_SetCompare(&htim8, TIM_CHANNEL_1, pwm);
	__HAL_TIM_SetCompare(&htim8, TIM_CHANNEL_2, pwm);

}

/* USER CODE END 4 */

void StartDefaultTask(void const * argument)
{
	/* USER CODE BEGIN 5 */
	/* Infinite loop */
	HAL_ADC_Start_DMA(&hadc1, rightIR, 4096); // PC1 is right IR
	HAL_ADC_Start_DMA(&hadc2,  leftIR, 4096); // PC2 is left IR
	htim1.Instance->CCR4 = 147;
	for(;;)
	{
		ultrasonic_read();
		osDelay(200);
	}
	/* USER CODE END 5 */
}
void thirtyCMFromObstacle(){
	gyroInit();
	osDelay(1000);
	motorForward(1300); // 1500 too fast; 13th Oct 6pm
	while(Distance > 30){
		correctDirection(0, 1);
		osDelay(1);
	}
	stopMovement();
	motorReverse(1000);
	while(Distance < 30){
		osDelay(1);
	}
	stopMovement();
	motorDir = 0;
}

void twentyCMFromObstacle(){
	gyroInit();
	osDelay(1000);
	motorForward(1300); // 1500 too fast; 13th Oct 6pm
	while(Distance > 20){
		correctDirection(0, 1);
		osDelay(1);
	}
	stopMovement();
	motorReverse(1000);
	while(Distance < 20){
		osDelay(1);
	}
	stopMovement();
	motorDir = 0;
}

int obs_flag=0;
int distance_between_obs1_obs2 = 0;
int distance_counter = 3;
int total_distance_travelled = 0;
void robotCommand(void const * argument)
{
	/* USER CODE BEGIN robotCommand */
	/* Infinite loop */
	/*
	 * 5bit Instruction
	 *  |--------------------------------------------------------------------------------|
	 *  |Instruction		|			Action											 |
	 *  |--------------------------------------------------------------------------------|
	 *  |  00xxx			|	Stop Movement											 |
	 *  |  01xxx			|	Move forward for xxx distance (Straight Line)			 |
	 *  |  02xxx			|	Turn Left for xxx angle (forward)						 |
	 *  |  03xxx			|	Turn Right for xxx angle (forward)						 |
	 *  |  11xxx			|	Move backward for xxx distance (Straight Line)			 |
	 *  |  12xxx			|	Turn Left for xxx angle (Backward)						 |
	 *  |  13xxx			|	Turn Right for xxx angle (Backward)						 |
	 *  |--------------------------------------------------------------------------------|
	 *
	 */

	int turnDegree=0;
	double target_angle;
	double Aint;

	HAL_TIM_IC_Start_IT(&htim4,TIM_CHANNEL_1);

	for(;;){
		target_angle = 0;
		switch(motorDir){
		case 0:
			stopMovement();
			break;
		case 1:

			//move forward
			//				HAL_GPIO_WritePin(GPIOA, MotorA_IN1_Pin, GPIO_PIN_SET);
			//				HAL_GPIO_WritePin(GPIOA, MotorA_IN2_Pin, GPIO_PIN_RESET);
			//				HAL_GPIO_WritePin(GPIOA, MotorB_IN1_Pin, GPIO_PIN_SET);
			//				HAL_GPIO_WritePin(GPIOA, MotorB_IN2_Pin, GPIO_PIN_RESET);
			//
			//				// forward left and right wheels CLEARED CHECKLIST @ left: 2650; right: 2000
			//				__HAL_TIM_SetCompare(&htim8, TIM_CHANNEL_1, 1000); //left wheel was 1650
			//				__HAL_TIM_SetCompare(&htim8, TIM_CHANNEL_2, 1000); //right wheel was 1400

			Aint = 0;

			gyroInit();
			osDelay(1000);

			turnDegree = 0;
			moveForward("Straight", angle);
			HAL_UART_Transmit(&huart3, (uint8_t *) "Done", 5, 0xFFFF);
			break;
		case 2:

			Aint = 0;
			gyroInit();
			osDelay(1000);

			//motorLeft(angle);

			motorLeft(angle);
			osDelay(1);
			//				moveBackward("Straight", 10);
			//				osDelay(1);
			//				motorLeft(40);
			//				moveBackward("Straight", 10);

			HAL_UART_Transmit(&huart3, (uint8_t *) "Done", 5, 0xFFFF);
			break;

		case 3: // turn right

			Aint = 0;
			gyroInit();
			osDelay(1000);

			//motorRight(angle);

			motorRight(angle);
			osDelay(1);
			//				moveBackward("Straight", 20);
			//				osDelay(1);
			//				motorRight(35);
			//				moveBackward("Straight", 7);
			HAL_UART_Transmit(&huart3, (uint8_t *) "Done", 5, 0xFFFF);
			break;

		case 4: // go fwd, stop 30cm from obstacle

			Aint = 0;
			gyroInit();
			osDelay(1000);

			motorForward(1300); // 1500 too fast; 13th Oct 6pm
			while(Distance > 30){
				correctDirection(0, 1);
				osDelay(1);
			}
			stopMovement();

			motorReverse(1000);
			while(Distance < 30){
				osDelay(1);
			}
			stopMovement();
			motorDir = 0;
			//HAL_UART_Transmit(&huart3, (uint8_t *) "Done", 5, 0xFFFF);

			break;

		case 5: // go around the first obstacle from the left side
			if(obs_flag==0){
				Aint = 0;
				gyroInit();
				osDelay(1000);
				total_angle = 0;

				motorLeft(43); // was 45
				total_angle = 0;
				moveForward("Straight", 8);
				total_angle = 0;
				osDelay(500);

				motorRight(45); //was 45, 46
				total_angle = 0;

				moveForward("Straight", 5);

				motorRight(45);
				total_angle = 0;

				moveForward("Straight", 8); // was 15, 17, 20, 19, 18 ,10
				total_angle = 0;

				motorLeft(45); // was 45, 43, 41, 42, 43, 41, 43, 42, 43
				total_angle = 0;

				moveBackward("Straight", 10);
				total_angle = 0;

				osDelay(2000);
				distance_between_obs1_obs2=Distance;

				HAL_UART_Transmit(&huart3, (uint8_t *) "Done", 5, 0xFFFF);
				obs_flag=1;
				osDelay(1000);

				Aint = 0;
				gyroInit();
				//osDelay(1000);

				//				motorForward(1300); // 1500 too fast; 13th Oct 6pm
				while (Distance > 30) {
					moveForward("Straight", 10);
					distance_counter++;
					correctDirection(0, 1);
					osDelay(1);
				}
				total_distance_travelled = distance_counter * 10;
				//				while(Distance > 30){
				//					correctDirection(0, 1);
				//					osDelay(1);
				//				}
				total_angle = 0;
				stopMovement();

				motorReverse(1300);
				while(Distance < 30){
					osDelay(1);
				}
				stopMovement();
				total_angle = 0;
				motorDir = 0;

				break;
			}
			else{
				//Go left around second obstacle
				Aint = 0;
				gyroInit();
				osDelay(1000);
				total_angle = 0;

				motorLeft(90); // was 90
				total_angle = 0;

				//				moveForward("Straight", 5);
				//				stopMovement();
				//				total_angle = 0;

				motorRight(90);
				total_angle = 0;

				moveForward("Straight", 5); // was 10
				total_angle = 0;

				motorRight(90); // was 90
				total_angle = 0;
				stopMovement();
				moveForward("Straight", 53); // was 70, 55, 57
				motorRight(90);
				total_angle = 0;
				//Robot at the edge of second obstacle
				if (total_distance_travelled > distance_between_obs1_obs2){
					distance_between_obs1_obs2 = total_distance_travelled;
				}
				moveForward("Straight", distance_between_obs1_obs2 + 40 + 35); // was 40 + 50, 40 + 45, was 40 + 40
				total_angle = 0;

				motorRight(90);
				total_angle = 0;
				moveBackward("Straight", 3); // was 5
				motorLeft(90);
				total_angle = 0;
				//Robot at the center of obstacle 2
				twentyCMFromObstacle();

			}
			break;

		case 6: // go around the first obstacle from the right side
			if(obs_flag==0){
				Aint = 0;
				gyroInit();
				osDelay(1000);
				total_angle = 0;

				motorRight(45);
				total_angle = 0;
				moveForward("Straight", 10); // was 15, was 8, was 9
				total_angle = 0;
				osDelay(500);

				motorLeft(45); // was 45, 47, 46, 45, 43. 41
				total_angle = 0;

				moveForward("Straight", 5); // was 3
				total_angle = 0;

				motorLeft(45); // was 43
				total_angle = 0;

				moveForward("Straight", 8); // was 18, 16, 13
				total_angle = 0;

				motorRight(48); // was 45, 47, 49, 46, 45, 47
				total_angle = 0;

				moveBackward("Straight", 10);
				total_angle = 0;

				osDelay(2000);
				distance_between_obs1_obs2=Distance;

				HAL_UART_Transmit(&huart3, (uint8_t *) "Done", 5, 0xFFFF);
				obs_flag=1;
				osDelay(1000);

				Aint = 0;
				gyroInit();
				//osDelay(1000);

				//				motorForward(1300); // 1500 too fast; 13th Oct 6pm
				//				while(Distance > 30){
				//					correctDirection(0, 1);
				//					osDelay(1);
				//				}
				while (Distance > 30) {
					moveForward("Straight", 10);
					distance_counter++;
					correctDirection(0, 1);
					osDelay(1);
				}
				total_distance_travelled = distance_counter * 10;
				total_angle = 0;
				stopMovement();

				motorReverse(1300);
				while(Distance < 30){
					osDelay(1);
				}
				stopMovement();
				total_angle = 0;
				motorDir = 0;
				break;

			}
			else if(obs_flag==1){
				// go right around second obstacle
				Aint = 0;
				gyroInit();
				osDelay(1000);
				total_angle = 0;

				motorRight(90);
				total_angle = 0;

				//				moveForward("Straight", 5);
				//				stopMovement();
				//				total_angle = 0;

				motorLeft(88); // was 90
				total_angle = 0;

				moveForward("Straight", 5); // was 10
				total_angle = 0;

				motorLeft(88); // was 90
				total_angle = 0;
				stopMovement();
				moveForward("Straight", 62); // was 70, 63, 55, 60
				total_angle = 0;
				motorLeft(88); // was 90
				total_angle = 0;
				//Robot at the edge of second obstacle
				if (total_distance_travelled > distance_between_obs1_obs2){
					distance_between_obs1_obs2 = total_distance_travelled;
				}
				moveForward("Straight", distance_between_obs1_obs2 + 40 + 35); // was 40 + 50
				total_angle = 0;

				motorLeft(88); // was 90
				total_angle = 0;
				//				moveBackward("Straight", 5);
				motorRight(90);
				total_angle = 0;

				twentyCMFromObstacle();
			}

			break;

		case 11:
			Aint = 0;
			gyroInit();
			osDelay(1000);
			moveBackward("Straight", angle);
			HAL_UART_Transmit(&huart3, (uint8_t *) "Done", 5, 0xFFFF);
			break;
		case 12:
			Aint = 0;
			gyroInit();
			moveBackward("Left", angle);
			HAL_UART_Transmit(&huart3, (uint8_t *) "Done", 5, 0xFFFF);
			break;
		case 13:
			Aint = 0;
			gyroInit();
			moveBackward("Right", angle);
			HAL_UART_Transmit(&huart3, (uint8_t *) "Done", 5, 0xFFFF);
			break;
		case 20:
			NVIC_SystemReset();
			while(1);
			break;

		default:
			stopMovement();
			HAL_UART_Transmit(&huart3, (uint8_t *) "Err", 5, 0xFFFF);
			break;
		}

		osDelay(1);
	}
	/* USER CODE END robotCommand */
}

void leftEncoder(void const * argument)
{
	/* USER CODE BEGIN leftEncoder */
	//OLED_Refresh_Gram();
	HAL_TIM_Encoder_Start(&htim2,TIM_CHANNEL_ALL);

	int cntL1, cntL2;

	int cnt2;
	int dirL = 1;
	int diff;
	uint32_t tick;
	cntL1 = __HAL_TIM_GET_COUNTER(&htim2);

	tick = HAL_GetTick();
	//uint8_t left[30] = "Test \0";
	/* Infinite loop */
	//	float speed = 0;
	//	int delta_count = 0;
	for(;;)
	{
		if(HAL_GetTick()-tick > 100L)
		{

			cnt2 = __HAL_TIM_GET_COUNTER(&htim2);

			if(cnt2 > 32000){
				dirL = 1;

				diff = (65536 - cnt2);

			} else {
				dirL = -1;

				diff = cnt2;

			}

			if(dirL == 1){
				totalLeftEncoder += diff;
			} else {
				totalLeftEncoder -= diff;
			}

			__HAL_TIM_SET_COUNTER(&htim2, 0);

			tick = HAL_GetTick();
		}
		osDelay(1);
	}
	/* USER CODE END leftEncoder */
}

void rightEncoder(void const * argument)
{
	/* USER CODE BEGIN rightEncoder */
	//OLED_Refresh_Gram();

	HAL_TIM_Encoder_Start(&htim3,TIM_CHANNEL_ALL);

	int cntR1, cntR2;
	uint32_t tick;
	cntR1 = __HAL_TIM_GET_COUNTER(&htim3);
	tick = HAL_GetTick();
	//uint8_t right[30] = "Test\0";
	/* Infinite loop */
	for(;;)
	{
		if(HAL_GetTick()-tick > 1000L)
		{
			cntR2 = __HAL_TIM_GET_COUNTER(&htim3);

			// for left encoder
			if(__HAL_TIM_IS_TIM_COUNTING_DOWN(&htim3))
			{
				if(cntR2<cntR1)
				{
					rightEncoderVal = cntR1 - cntR2;
				}
				else
					rightEncoderVal = (65535-cntR2) + cntR1;

			}
			else
			{
				if(cntR2>cntR1)
				{
					rightEncoderVal = cntR2 - cntR1;
				}
				else
					rightEncoderVal = (65535-cntR1) + cntR2;
			}
			//rightPWMval = Right_PID_control (1500, rightEncoderVal);

			cntR1 = __HAL_TIM_GET_COUNTER(&htim3);
			tick = HAL_GetTick();
		}
		osDelay(1);
	}
	/* USER CODE END rightEncoder */
}

void stopBot(void const * argument)
{
	/* USER CODE BEGIN stopBot */
	/* Infinite loop */
	for(;;)
	{
		if(motorDir == 0)
			stopMovement();
	}
	/* USER CODE END stopBot */
}

void motor(void const * argument)
{
	/* USER CODE BEGIN motor */
	/* Infinite loop */
	HAL_TIM_PWM_Start(&htim8, TIM_CHANNEL_1);
	HAL_TIM_PWM_Start(&htim8, TIM_CHANNEL_2);

	for(;;)
	{
		//	__HAL_TIM_SetCompare(&htim8, TIM_CHANNEL_2, rightPWMval);
		//	__HAL_TIM_SetCompare(&htim8, TIM_CHANNEL_1, leftPWMval);
		osDelay(1);
	}
	/* USER CODE END motor */
}

void OLEDShow(void const * argument)
{
	/* USER CODE BEGIN OLEDShow */
	/* Infinite loop */
	for(;;)
	{
		uint8_t oledText[70] = "oled \0";
		//sprintf(oledText,"Right is %5d, %5d \n Left is %5d, %5d \0",rightEncoderVal, rightPWMval, leftEncoderVal, leftPWMval);
		sprintf(oledText,"angle: %5d", (int)total_angle);
		OLED_ShowString(10,10, oledText);
		sprintf(oledText, "distance: %5d", (int)Distance);
		OLED_ShowString(10,20, oledText);
		sprintf(oledText, "IR %4d %4d", (int)leftIR[0], (int)rightIR[0]);
		OLED_ShowString(10,30, oledText);
		OLED_Refresh_Gram();
		osDelay(200);
	}
	/* USER CODE END OLEDShow */
}

void gyroTask1(void const * argument)
{
	/* USER CODE BEGIN gyroTask1 */
	/* Infinite loop */
	uint8_t val[2] = {0,0};

	char hello[20];
	int16_t angular_speed = 0;

	uint32_t tick = 0;
	gyroInit();
	int dir;
	//	int16_t offset = 0;

	tick = HAL_GetTick();
	osDelay(5);

	//		for(int i = 0; i < 3000; i++){
	//			readByte(0x37, val);
	//			angular_speed = val[0] << 8 | val[1];
	//			offset += angular_speed;
	//			//osDelayUntil(1);
	//		}
	//		offset = offset/3000.0f;

	for(;;)
	{
		osDelay(5);

		if(HAL_GetTick() - tick >= 100){
			readByte(0x37, val);
			//osDelayUntil(1);
			//angular_speed = ((int16_t)((int8_t)val[0]))*256 +  (uint16_t)val[1];
			angular_speed = (val[0] << 8) | val[1];

			// for gyro drift removal, calibration needs to be added to angular speed
			total_angle +=(double)(angular_speed - 4.7)*((HAL_GetTick() - tick)/16400.0);

			//prevSpeed = angular_speed;
			if(total_angle >= 720){
				total_angle = 0;
			}
			if(total_angle <= -720){
				total_angle = 0;
			}

			tick = HAL_GetTick();
		}
	}
	/* USER CODE END gyroTask1 */
}

void Error_Handler(void)
{
	__disable_irq();
	while (1)
	{
	}
}
